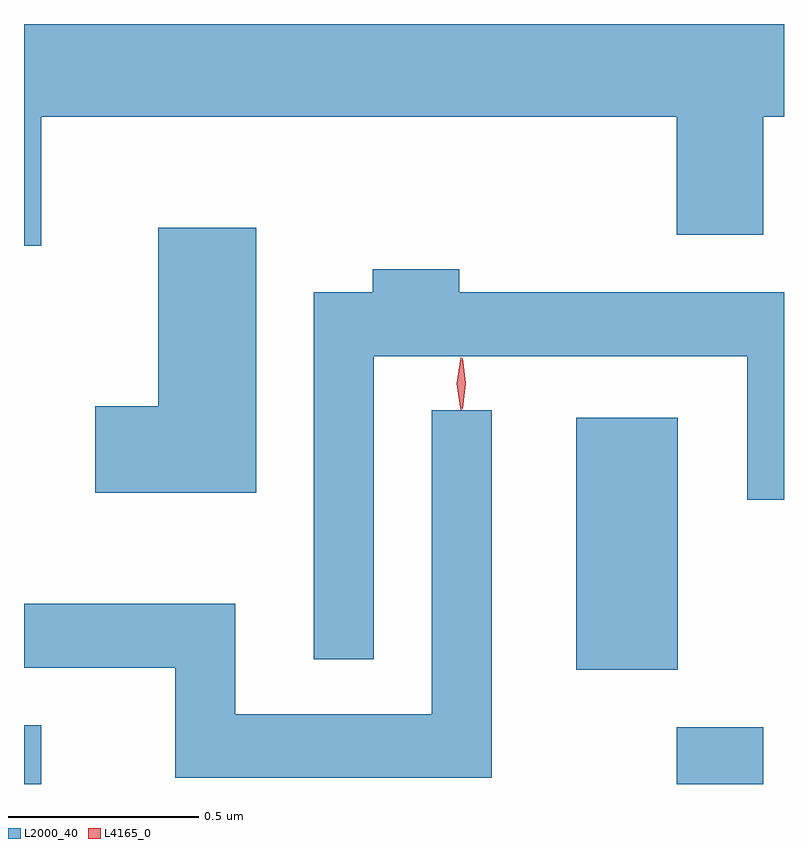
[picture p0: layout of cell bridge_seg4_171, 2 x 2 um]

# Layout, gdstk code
import gdstk
lib = gdstk.Library(unit=1e-6, precision=1e-09)
def R(c, l, rs):  # rectangles x0, y0, x1, y1
    for r in rs: c.add(gdstk.rectangle(r[:2], r[2:], *l))
def P(c, l, *ps):  # polygons
    for p in ps: c.add(gdstk.Polygon(p, *l))
L2000_40 = (2000, 40)
L4165_0 = (4165, 0)

bridge_seg4_171 = lib.new_cell('bridge_seg4_171')
R(bridge_seg4_171, L2000_40, [(949.363,1319.62,949.409,1319.774), (951.081,1319.62,951.309,1319.769), (950.816,1319.921,951.084,1320.584)])
P(bridge_seg4_171, L2000_40, [(949.409,1321.376),(951.081,1321.376),(951.081,1321.066),(951.309,1321.066),(951.309,1321.376),(951.363,1321.376),(951.363,1321.62),(949.363,1321.62),(949.363,1321.036),(949.409,1321.036)],
  [(949.974,1321.084),(949.716,1321.084),(949.716,1320.614),(949.551,1320.614),(949.551,1320.386),(949.974,1320.386)],
  [(950.284,1320.746),(951.266,1320.746),(951.266,1320.368),(951.363,1320.368),(951.363,1320.914),(950.509,1320.914),(950.509,1320.974),(950.281,1320.974),(950.281,1320.914),(950.126,1320.914),(950.126,1319.948),(950.284,1319.948)],
  [(950.594,1320.603),(950.436,1320.603),(950.436,1319.804),(949.919,1319.804),(949.919,1320.094),(949.363,1320.094),(949.363,1319.926),(949.761,1319.926),(949.761,1319.636),(950.594,1319.636)])
P(bridge_seg4_171, L4165_0, [(950.512,1320.604),(950.502,1320.673),(950.512,1320.742),(950.512,1320.743),(950.513,1320.742),(950.522,1320.673),(950.513,1320.604),(950.513,1320.604)],
  [(950.516,1320.607),(950.516,1320.608),(950.506,1320.674),(950.516,1320.74),(950.516,1320.741),(950.517,1320.74),(950.526,1320.674),(950.517,1320.608)])

lib.write_gds('bridge_seg4_171.gds')
